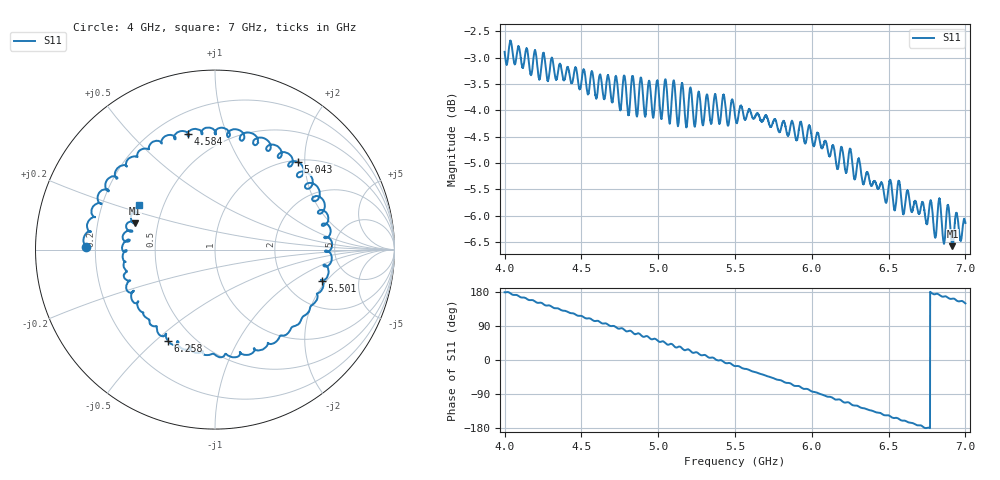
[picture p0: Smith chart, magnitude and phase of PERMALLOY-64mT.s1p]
#  HZ  S  RI  R  50.0
! Rohde & Schwarz ZVL13 2Ports - Version 3.31 - 1303.6509k13 SN: 101088
! Date: 2023-03-03 14:43:12
! Data & Calibration Information:
! Trc2:S21(TOSM)
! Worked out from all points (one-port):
!   4000 points, 4 GHz to 7 GHz, reference 50 ohm
!   lowest |S11| = -6.6 dB at 6.916 GHz (marker M1), VSWR 2.76, Z = 18.5 + j6.91 ohm
!   |S11| at or under -10 dB: nowhere
!   S11 on the Smith chart (normalised r, x): 4 GHz: 0.16, +0.01; 4.584 GHz: 0.32, +0.74; 5.043 GHz: 1.04, +1.86; 5.501 GHz: 3.19, -1.80; 6.258 GHz: 0.36, -0.55; 7 GHz: 0.36, +0.24
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4e9  -0.717 0.0156
4.024006e9  -0.7132 0.011
4.194299e9  -0.6536 0.2967
4.375094e9  -0.4437 0.5197
4.584396e9  -0.1485 0.6465
4.674419e9  -0.0351 0.6803
4.750188e9  0.0777 0.6283
4.777194e9  0.1157 0.6706
4.857464e9  0.2284 0.5827
4.883721e9  0.2613 0.6237
5.042761e9  0.4635 0.4878
5.125281e9  0.5101 0.3394
5.16129e9  0.5833 0.3131
5.186047e9  0.5413 0.2816
5.213803e9  0.6118 0.2482
5.31958e9  0.6447 0.1019
5.500375e9  0.5991 -0.1739
5.501125e9  0.5972 -0.1733
5.645911e9  0.5202 -0.3482
5.875469e9  0.2538 -0.5595
6.03976e9  0.0292 -0.599
6.250563e9  -0.2436 -0.5259
6.258065e9  -0.2618 -0.509
6.461365e9  -0.4305 -0.3185
6.625656e9  -0.5081 -0.1475
6.829707e9  -0.5147 0.0721
6.915979e9  -0.4454 0.1459
7e9  -0.4245 0.2507
